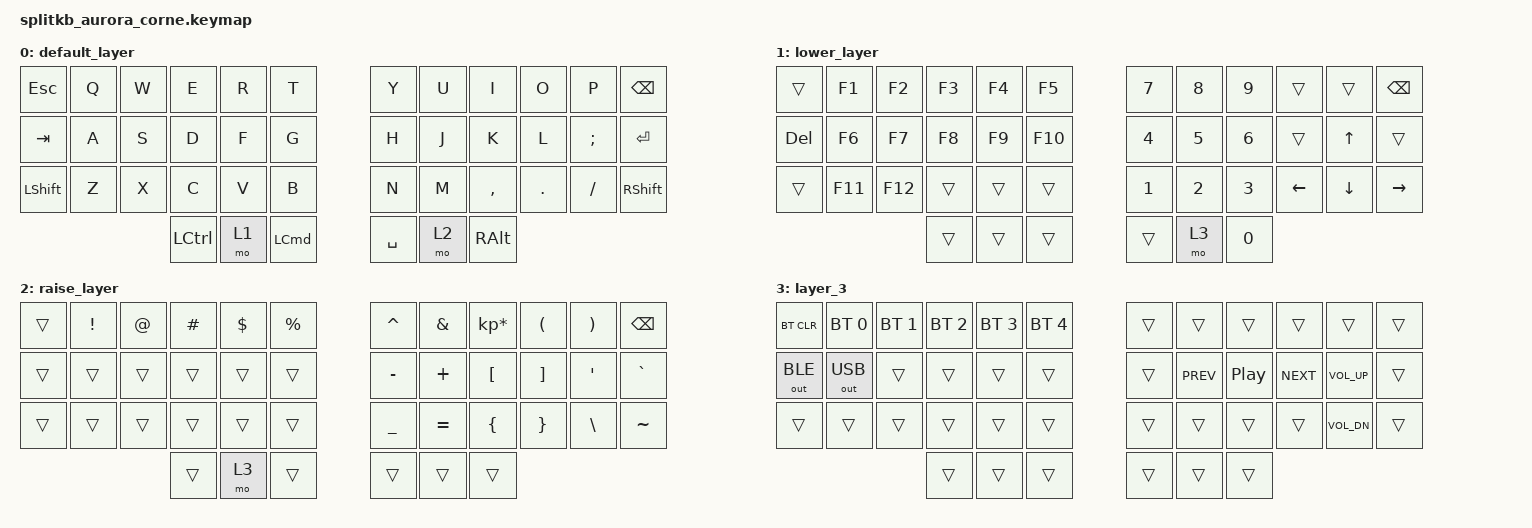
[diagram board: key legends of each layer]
/*
 * Copyright (c) 2020 The ZMK Contributors
 *
 * SPDX-License-Identifier: MIT
 */

#include <behaviors.dtsi>
#include <dt-bindings/zmk/bt.h>
#include <dt-bindings/zmk/keys.h>
#include <dt-bindings/zmk/outputs.h>

/ {
    combos {
        compatible = "zmk,combos";

        double_shift {
            bindings = <&kp CAPSLOCK>;
            key-positions = <24 35>;
        };
    };

    keymap {
        compatible = "zmk,keymap";

        default_layer {
            // -----------------------------------------------------------------------------------------
            // |  TAB |  Q  |  W  |  E  |  R  |  T  |   |  Y  |  U   |  I  |  O  |  P  | BKSP |
            // | CTRL |  A  |  S  |  D  |  F  |  G  |   |  H  |  J   |  K  |  L  |  ;  |  '   |
            // | SHFT |  Z  |  X  |  C  |  V  |  B  |   |  N  |  M   |  ,  |  .  |  /  | ESC  |
            //                    | GUI | LWR | SPC |   | ENT | RSE  | ALT |

            bindings = <
  &kp ESC  &kp Q  &kp W      &kp E  &kp R             &kp T        &kp Y  &kp U      &kp I    &kp O     &kp P         &kp BSPC
  &kp TAB  &kp A  &kp S      &kp D  &kp F             &kp G        &kp H  &kp J      &kp K    &kp L  &kp SEMI        &kp ENTER
&kp LSHFT  &kp Z  &kp X      &kp C  &kp V             &kp B        &kp N  &kp M  &kp COMMA  &kp DOT  &kp FSLH  &kp RIGHT_SHIFT
                         &kp LCTRL  &mo 1  &kp LEFT_COMMAND    &kp SPACE  &mo 2   &kp RALT
            >;
        };

        lower_layer {
            // -----------------------------------------------------------------------------------------
            // |  TAB |  1  |  2  |  3  |  4  |  5  |   |  6  |  7  |  8  |  9  |  0  | BKSP |
            // | BTCLR| BT1 | BT2 | BT3 | BT4 | BT5 |   | LFT | DWN |  UP | RGT |     |      |
            // | SHFT |     |     |     |     |     |   |     |     |     |     |     |      |
            //                    | GUI |     | SPC |   | ENT |     | ALT |

            bindings = <
    &trans   &kp F1   &kp F2  &kp F3  &kp F4   &kp F5    &kp NUMBER_7  &kp NUMBER_8  &kp NUMBER_9    &trans    &trans   &kp BSPC
&kp DELETE   &kp F6   &kp F7  &kp F8  &kp F9  &kp F10    &kp NUMBER_4  &kp NUMBER_5  &kp NUMBER_6    &trans    &kp UP     &trans
    &trans  &kp F11  &kp F12  &trans  &trans   &trans    &kp NUMBER_1  &kp NUMBER_2  &kp NUMBER_3  &kp LEFT  &kp DOWN  &kp RIGHT
                              &trans  &trans   &trans          &trans         &mo 3  &kp NUMBER_0
            >;
        };

        raise_layer {
            // -----------------------------------------------------------------------------------------
            // |  TAB |  !  |  @  |  #  |  $  |  %  |   |  ^  |  &  |  *  |  (  |  )  | BKSP |
            // | CTRL |     |     |     |     |     |   |  -  |  =  |  [  |  ]  |  \  |  `   |
            // | SHFT |     |     |     |     |     |   |  _  |  +  |  {  |  }  | "|" |  ~   |
            //                    | GUI |     | SPC |   | ENT |     | ALT |

            bindings = <
&trans  &kp EXCL  &kp AT  &kp HASH  &kp DLLR  &kp PRCNT    &kp CARET   &kp AMPS  &kp KP_MULTIPLY  &kp LPAR          &kp RPAR   &kp BSPC
&trans    &trans  &trans    &trans    &trans     &trans    &kp MINUS   &kp PLUS         &kp LBKT  &kp RBKT  &kp SINGLE_QUOTE  &kp GRAVE
&trans    &trans  &trans    &trans    &trans     &trans    &kp UNDER  &kp EQUAL         &kp LBRC  &kp RBRC     &kp BACKSLASH  &kp TILDE
                            &trans     &mo 3     &trans       &trans     &trans           &trans
            >;
        };

        layer_3 {
            bindings = <
  &bt BT_CLR  &bt BT_SEL 0  &bt BT_SEL 1  &bt BT_SEL 2  &bt BT_SEL 3  &bt BT_SEL 4    &trans      &trans            &trans      &trans        &trans  &trans
&out OUT_BLE  &out OUT_USB        &trans        &trans        &trans        &trans    &trans  &kp C_PREV  &kp C_PLAY_PAUSE  &kp C_NEXT  &kp C_VOL_UP  &trans
      &trans        &trans        &trans        &trans        &trans        &trans    &trans      &trans            &trans      &trans  &kp C_VOL_DN  &trans
                                                &trans        &trans        &trans    &trans      &trans            &trans
            >;
        };
    };
};
